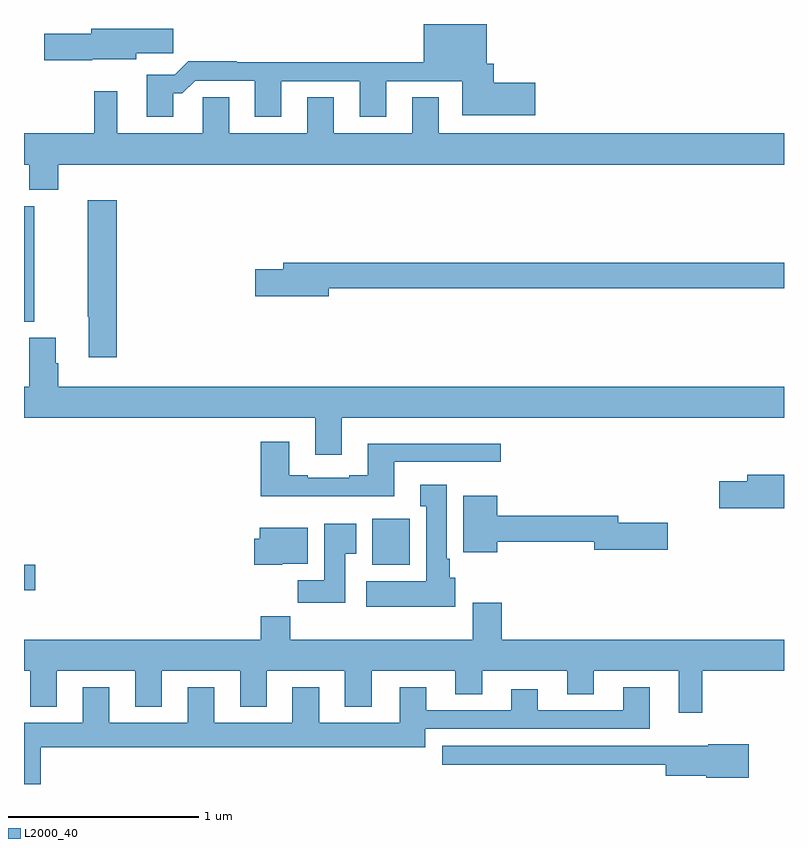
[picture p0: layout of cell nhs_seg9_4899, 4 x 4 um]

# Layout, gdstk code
import gdstk
lib = gdstk.Library(unit=1e-6, precision=1e-09)
def R(c, l, rs):  # rectangles x0, y0, x1, y1
    for r in rs: c.add(gdstk.rectangle(r[:2], r[2:], *l))
def P(c, l, *ps):  # polygons
    for p in ps: c.add(gdstk.Polygon(p, *l))
L2000_40 = (2000, 40)

nhs_seg9_4899 = lib.new_cell('nhs_seg9_4899')
R(nhs_seg9_4899, L2000_40, [(395,1187.519,395.059,1187.654), (396.833,1187.654,397.03,1187.896), (395,1188.933,395.053,1189.542)])
P(nhs_seg9_4899, L2000_40, [(395.785,1190.135),(395.834,1190.135),(395.901,1190.202),(396.215,1190.202),(396.215,1190.013),(396.355,1190.013),(396.355,1190.199),(396.767,1190.199),(396.767,1190.013),(396.907,1190.013),(396.907,1190.199),(397.307,1190.199),(397.307,1190.021),(397.69,1190.021),(397.69,1190.192),(397.472,1190.192),(397.472,1190.292),(397.435,1190.292),(397.435,1190.5),(397.103,1190.5),(397.103,1190.3),(396.119,1190.3),(396.119,1190.303),(395.864,1190.303),(395.794,1190.233),(395.645,1190.233),(395.645,1190.013),(395.785,1190.013)],
  [(395.358,1190.315),(395.59,1190.315),(395.59,1190.347),(395.785,1190.347),(395.785,1190.476),(395.354,1190.476),(395.354,1190.45),(395.106,1190.45),(395.106,1190.308),(395.358,1190.308)],
  [(395.18,1189.76),(399,1189.76),(399,1189.924),(397.183,1189.924),(397.183,1190.114),(397.043,1190.114),(397.043,1189.924),(396.631,1189.924),(396.631,1190.114),(396.491,1190.114),(396.491,1189.924),(396.079,1189.924),(396.079,1190.114),(395.94,1190.114),(395.94,1189.924),(395.491,1189.924),(395.491,1190.146),(395.37,1190.146),(395.37,1189.924),(395,1189.924),(395,1189.76),(395.027,1189.76),(395.027,1189.627),(395.18,1189.627)],
  [(395.489,1189.573),(395.335,1189.573),(395.335,1188.959),(395.342,1188.959),(395.342,1188.747),(395.489,1188.747)],
  [(396.604,1189.108),(399,1189.108),(399,1189.244),(396.365,1189.244),(396.365,1189.208),(396.216,1189.208),(396.216,1189.066),(396.604,1189.066)],
  [(396.673,1188.428),(399,1188.428),(399,1188.592),(395.18,1188.592),(395.18,1188.714),(395.167,1188.714),(395.167,1188.848),(395.027,1188.848),(395.027,1188.592),(395,1188.592),(395,1188.428),(396.533,1188.428),(396.533,1188.234),(396.673,1188.234)],
  [(396.949,1188.195),(397.51,1188.195),(397.51,1188.292),(396.809,1188.292),(396.809,1188.124),(396.713,1188.124),(396.713,1188.111),(396.493,1188.111),(396.493,1188.124),(396.397,1188.124),(396.397,1188.301),(396.245,1188.301),(396.245,1188.014),(396.949,1188.014)],
  [(399,1188.127),(398.807,1188.127),(398.807,1188.093),(398.658,1188.093),(398.658,1187.951),(399,1187.951)],
  [(397.27,1187.586),(397.24,1187.586),(397.24,1187.686),(397.225,1187.686),(397.225,1188.076),(397.085,1188.076),(397.085,1187.963),(397.118,1187.963),(397.118,1187.566),(396.801,1187.566),(396.801,1187.432),(397.27,1187.432)],
  [(397.492,1187.776),(398,1187.776),(398,1187.734),(398.389,1187.734),(398.389,1187.876),(398.128,1187.876),(398.128,1187.912),(397.492,1187.912),(397.492,1188.016),(397.313,1188.016),(397.313,1187.72),(397.492,1187.72)],
  [(396.691,1187.713),(396.748,1187.713),(396.748,1187.869),(396.581,1187.869),(396.581,1187.572),(396.442,1187.572),(396.442,1187.454),(396.691,1187.454)],
  [(396.36,1187.66),(396.493,1187.66),(396.493,1187.848),(396.242,1187.848),(396.242,1187.79),(396.212,1187.79),(396.212,1187.654),(396.36,1187.654)],
  [(398.569,1187.096),(399,1187.096),(399,1187.26),(397.514,1187.26),(397.514,1187.455),(397.361,1187.455),(397.361,1187.26),(396.401,1187.26),(396.401,1187.384),(396.245,1187.384),(396.245,1187.26),(395,1187.26),(395,1187.096),(395.033,1187.096),(395.033,1186.907),(395.173,1186.907),(395.173,1187.096),(395.585,1187.096),(395.585,1186.907),(395.725,1186.907),(395.725,1187.096),(396.137,1187.096),(396.137,1186.907),(396.277,1186.907),(396.277,1187.096),(396.689,1187.096),(396.689,1186.907),(396.829,1186.907),(396.829,1187.096),(397.271,1187.096),(397.271,1186.972),(397.411,1186.972),(397.411,1187.096),(397.859,1187.096),(397.859,1186.972),(397.999,1186.972),(397.999,1187.096),(398.447,1187.096),(398.447,1186.875),(398.569,1186.875)],
  [(395.089,1186.694),(397.111,1186.694),(397.111,1186.791),(398.293,1186.791),(398.293,1187.008),(398.153,1187.008),(398.153,1186.887),(397.705,1186.887),(397.705,1186.999),(397.565,1186.999),(397.565,1186.887),(397.117,1186.887),(397.117,1187.008),(396.977,1187.008),(396.977,1186.822),(396.553,1186.822),(396.553,1187.008),(396.413,1187.008),(396.413,1186.822),(396.001,1186.822),(396.001,1187.008),(395.861,1187.008),(395.861,1186.822),(395.449,1186.822),(395.449,1187.008),(395.309,1187.008),(395.309,1186.822),(395,1186.822),(395,1186.5),(395.089,1186.5)],
  [(398.815,1186.71),(398.602,1186.71),(398.602,1186.702),(397.2,1186.702),(397.2,1186.601),(398.378,1186.601),(398.378,1186.544),(398.592,1186.544),(398.592,1186.532),(398.815,1186.532)])

lib.write_gds('nhs_seg9_4899.gds')
